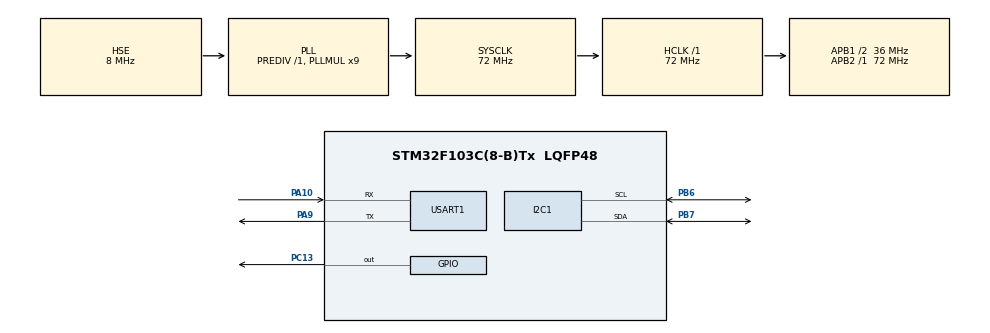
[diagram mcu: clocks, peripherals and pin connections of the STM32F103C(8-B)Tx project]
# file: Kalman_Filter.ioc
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FREERTOS.Tasks01=MPU,24,128,StartMPU,Default,NULL,Dynamic,NULL,NULL
Mcu.Family=STM32F1
Mcu.Name=STM32F103C(8-B)Tx
Mcu.Package=LQFP48
NVIC.PriorityGroup=NVIC_PRIORITYGROUP_4
NVIC.TIM1_UP_IRQn=true\:15\:0\:false\:false\:true\:false\:false\:true\:true
NVIC.TimeBase=TIM1_UP_IRQn
NVIC.TimeBaseIP=TIM1
PA10.Mode=Asynchronous
PA10.Signal=USART1_RX
PA13.Mode=Serial_Wire
PA13.Signal=SYS_JTMS-SWDIO
PA14.Mode=Serial_Wire
PA14.Signal=SYS_JTCK-SWCLK
PA9.Mode=Asynchronous
PA9.Signal=USART1_TX
PB6.Mode=I2C
PB6.Signal=I2C1_SCL
PB7.Mode=I2C
PB7.Signal=I2C1_SDA
PC13-TAMPER-RTC.Signal=GPIO_Output
PC14-OSC32_IN.Mode=LSE-External-Oscillator
PC14-OSC32_IN.Signal=RCC_OSC32_IN
PC15-OSC32_OUT.Mode=LSE-External-Oscillator
PC15-OSC32_OUT.Signal=RCC_OSC32_OUT
PD0-OSC_IN.Mode=HSE-External-Oscillator
PD0-OSC_IN.Signal=RCC_OSC_IN
PD1-OSC_OUT.Mode=HSE-External-Oscillator
PD1-OSC_OUT.Signal=RCC_OSC_OUT
ProjectManager.HeapSize=0x200
ProjectManager.StackSize=0x400
ProjectManager.TargetToolchain=MDK-ARM V5.32
RCC.AHBFreq_Value=72000000
RCC.APB1CLKDivider=RCC_HCLK_DIV2
RCC.APB1Freq_Value=36000000
RCC.APB1TimFreq_Value=72000000
RCC.APB2Freq_Value=72000000
RCC.APB2TimFreq_Value=72000000
RCC.HCLKFreq_Value=72000000
RCC.PLLMUL=RCC_PLL_MUL9
RCC.PLLSourceVirtual=RCC_PLLSOURCE_HSE
RCC.SYSCLKFreq_VALUE=72000000
RCC.SYSCLKSource=RCC_SYSCLKSOURCE_PLLCLK
RCC.USBFreq_Value=72000000
USART1.VirtualMode=VM_ASYNC
VP_FREERTOS_VS_CMSIS_V2.Mode=CMSIS_V2
VP_SYS_VS_tim1.Mode=TIM1
board=custom

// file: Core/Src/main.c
/* USER CODE BEGIN Header */
/**
  ******************************************************************************
  * @file           : main.c
  * @brief          : Main program body
  ******************************************************************************
  * @attention
  *
  * Copyright (c) 2025 STMicroelectronics.
  * All rights reserved.
  *
  * This software is licensed under terms that can be found in the LICENSE file
  * in the root directory of this software component.
  * If no LICENSE file comes with this software, it is provided AS-IS.
  *
  ******************************************************************************
  */
/* USER CODE END Header */
#include "main.h"
#include "cmsis_os.h"
#include "i2c.h"
#include "usart.h"
#include "gpio.h"

void SystemClock_Config(void);
void MX_FREERTOS_Init(void);

int main(void)
{

  /* MCU Configuration--------------------------------------------------------*/

  /* Reset of all peripherals, Initializes the Flash interface and the Systick. */
  HAL_Init();

  /* Configure the system clock */
  SystemClock_Config();

  /* Initialize all configured peripherals */
  MX_GPIO_Init();
  MX_I2C1_Init();
  MX_USART1_UART_Init();
  /* USER CODE BEGIN 2 */

	HAL_UART_Transmit(&huart1, (uint8_t*)"SystemLink\n", 11, 1000);

  /* USER CODE END 2 */

  /* Init scheduler */
  osKernelInitialize();  /* Call init function for freertos objects (in cmsis_os2.c) */
  MX_FREERTOS_Init();

  /* Start scheduler */
  osKernelStart();

  /* We should never get here as control is now taken by the scheduler */

  /* Infinite loop */
  while (1)
  {

  }
}

void SystemClock_Config(void)
{
  RCC_OscInitTypeDef RCC_OscInitStruct = {0};
  RCC_ClkInitTypeDef RCC_ClkInitStruct = {0};

  /** Initializes the RCC Oscillators according to the specified parameters
  * in the RCC_OscInitTypeDef structure.
  */
  RCC_OscInitStruct.OscillatorType = RCC_OSCILLATORTYPE_HSE;
  RCC_OscInitStruct.HSEState = RCC_HSE_ON;
  RCC_OscInitStruct.HSEPredivValue = RCC_HSE_PREDIV_DIV1;
  RCC_OscInitStruct.HSIState = RCC_HSI_ON;
  RCC_OscInitStruct.PLL.PLLState = RCC_PLL_ON;
  RCC_OscInitStruct.PLL.PLLSource = RCC_PLLSOURCE_HSE;
  RCC_OscInitStruct.PLL.PLLMUL = RCC_PLL_MUL9;
  if (HAL_RCC_OscConfig(&RCC_OscInitStruct) != HAL_OK)
  {
    Error_Handler();
  }

  /** Initializes the CPU, AHB and APB buses clocks
  */
  RCC_ClkInitStruct.ClockType = RCC_CLOCKTYPE_HCLK|RCC_CLOCKTYPE_SYSCLK
                              |RCC_CLOCKTYPE_PCLK1|RCC_CLOCKTYPE_PCLK2;
  RCC_ClkInitStruct.SYSCLKSource = RCC_SYSCLKSOURCE_PLLCLK;
  RCC_ClkInitStruct.AHBCLKDivider = RCC_SYSCLK_DIV1;
  RCC_ClkInitStruct.APB1CLKDivider = RCC_HCLK_DIV2;
  RCC_ClkInitStruct.APB2CLKDivider = RCC_HCLK_DIV1;

  if (HAL_RCC_ClockConfig(&RCC_ClkInitStruct, FLASH_LATENCY_2) != HAL_OK)
  {
    Error_Handler();
  }
}

void HAL_TIM_PeriodElapsedCallback(TIM_HandleTypeDef *htim)
{
  if (htim->Instance == TIM1)
  {
    HAL_IncTick();
  }
}

void Error_Handler(void)
{
  __disable_irq();
  while (1)
  {
  }
}

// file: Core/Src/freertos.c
/* USER CODE BEGIN Header */
/**
  ******************************************************************************
  * File Name          : freertos.c
  * Description        : Code for freertos applications
  ******************************************************************************
  * @attention
  *
  * Copyright (c) 2025 STMicroelectronics.
  * All rights reserved.
  *
  * This software is licensed under terms that can be found in the LICENSE file
  * in the root directory of this software component.
  * If no LICENSE file comes with this software, it is provided AS-IS.
  *
  ******************************************************************************
  */
/* USER CODE END Header */

#include "FreeRTOS.h"
#include "task.h"
#include "main.h"
#include "cmsis_os.h"

/* USER CODE BEGIN Includes */

#define ACC_R 0.00000013 // 加速度的测量方差
#define GYR_R 1.388542 // 角速度的测量方差
#define ACC_Q 0.0000000035 // 加速度的过程方差
#define GYR_Q 10.0 // 角速度的过程方差

#include "stdio.h"

extern I2C_HandleTypeDef hi2c1;
extern UART_HandleTypeDef huart1;

double ACC_P_; // 加速度先验协方差
double ACC_P = 0; // 加速度后验协方差
double ACC_K; // 加速度卡尔曼增益
double GYR_P_; // 角速度先验协方差
double GYR_P = 0; // 角速度后验协方差
double GYR_K; // 角速度卡尔曼增益

typedef struct{
	double X_; // 加速度预测值
	double Y_;
	double Z_;
	double X; // 加速度最优值
	double Y;
	double Z;
	double XZ; // 加速度观测值
	double YZ;
	double ZZ;

}ACCTYPE;
ACCTYPE Acc = {0, 0, 0, 0, 0, 0, 0, 0, 0};

typedef struct{
	double X_; // 角速度预测值
	double Y_;
	double Z_;
	double X; // 角速度最优值
	double Y;
	double Z;
	double XZ; // 角速度观测值
	double YZ;
	double ZZ;
}GYRTYPE;
GYRTYPE Gyr = {0, 0, 0, 0, 0, 0, 0, 0, 0};

/* USER CODE END Includes */

/* Definitions for MPU */
osThreadId_t MPUHandle;
const osThreadAttr_t MPU_attributes = {
  .name = "MPU",
  .stack_size = 128 * 4,
  .priority = (osPriority_t) osPriorityNormal,
};

void StartMPU(void *argument);

void MX_FREERTOS_Init(void); /* (MISRA C 2004 rule 8.1) */

void MX_FREERTOS_Init(void) {

  /* Create the thread(s) */
  /* creation of MPU */
  MPUHandle = osThreadNew(StartMPU, NULL, &MPU_attributes);

}

/* USER CODE BEGIN Header_StartMPU */

void MPU6050_INIT(){

	HAL_Delay(1000);//   延时*********这里要增加***原本为100

	uint8_t SendAddress = 0x6b;
	uint8_t SendData = 0x00; //解除休眠状态
	HAL_I2C_Mem_Write(&hi2c1,0xD1,SendAddress,1,&SendData,1,0xff);
	SendAddress = 0x19;//采样率分频器
	SendData = 0x07;
	HAL_I2C_Mem_Write(&hi2c1,0xD1,SendAddress,1,&SendData,1,0xff);
	SendAddress = 0x1A;//低通滤波器
	SendData = 0x06;
	HAL_I2C_Mem_Write(&hi2c1,0xD1,SendAddress,1,&SendData,1,0xff);
	SendAddress = 0x1B;//陀螺仪
	SendData = 0x08; //± 500 °/s
	HAL_I2C_Mem_Write(&hi2c1,0xD1,SendAddress,1,&SendData,1,0xff);
	SendAddress = 0x1C;//加速度计
	SendData = 0x00; //± 2g
	HAL_I2C_Mem_Write(&hi2c1,0xD1,SendAddress,1,&SendData,1,0xff);
}

void Kalman_Filter(double raw_x, double raw_y, double raw_z){
	// 获取预测值
	Acc.X_ = Acc.X;
	Acc.Y_ = Acc.Y;
	Acc.Z_ = Acc.Z;
	// 计算先验协方差
	ACC_P_ = ACC_P + ACC_Q;
	// 计算卡尔曼增益
	ACC_K = ACC_P_/(ACC_P_ + ACC_R);
	// 计算最优值
	Acc.X = Acc.X_ + ACC_K * (raw_x - Acc.X_);
	Acc.Y = Acc.Y_ + ACC_K * (raw_y - Acc.Y_);
	Acc.Z = Acc.Z_ + ACC_K * (raw_z - Acc.Z_);
	// 计算后验协方差
	ACC_P = (1 - ACC_K) * ACC_P_;
}
char buffer[128];
int length;
uint8_t MPUData[14];
uint8_t StarAddress = 0x3b;

/**
  * @brief  Function implementing the MPU thread.
  * @param  argument: Not used
  * @retval None
  */
/* USER CODE END Header_StartMPU */
void StartMPU(void *argument)
{
  /* USER CODE BEGIN StartMPU */
		MPU6050_INIT();
  /* Infinite loop */
  for(;;)
  {
		HAL_I2C_Mem_Read(&hi2c1, 0XD1, StarAddress, I2C_MEMADD_SIZE_8BIT, MPUData, 14, 50); // 读取MPU6050数据
		// 读取三维加速度
		short int ACC_X1 = ((MPUData[0]<<8) | MPUData[1]);
		Acc.XZ = (double)ACC_X1/16384;
		short int ACC_Y1 =((MPUData[2]<<8)| MPUData[3]);
		Acc.YZ = (double)ACC_Y1/16384;
		short int ACC_Z1=((MPUData[4]<<8) | MPUData[5]);
		Acc.ZZ = (double)ACC_Z1/16384;
		// 读取三维角速度
		short int GYR_X1= ((MPUData[8]<<8) | MPUData[9]);
		Gyr.XZ = (double)GYR_X1/65.5;
		short int GYR_Y1 = ((MPUData[10]<<8) | MPUData[11]);
		Gyr.YZ = (double)GYR_Y1/65.5;
		short int GYR_Z1 = ((MPUData[12]<<8) | MPUData[13]);
		Gyr.ZZ = (double)GYR_Z1/65.5;

		Kalman_Filter(Acc.XZ,Acc.YZ,Acc.ZZ); // 进行卡尔曼滤波

		length = sprintf(buffer, "%.3f,%.3f,%.3f,%.2f,%.2f,%.2f\n", Acc.X, Acc.Y, Acc.Z,Acc.XZ,Acc.YZ,Acc.ZZ);
		HAL_UART_Transmit(&huart1, (uint8_t*)buffer, length, 100);

    osDelay(5);
  }
  /* USER CODE END StartMPU */
}
